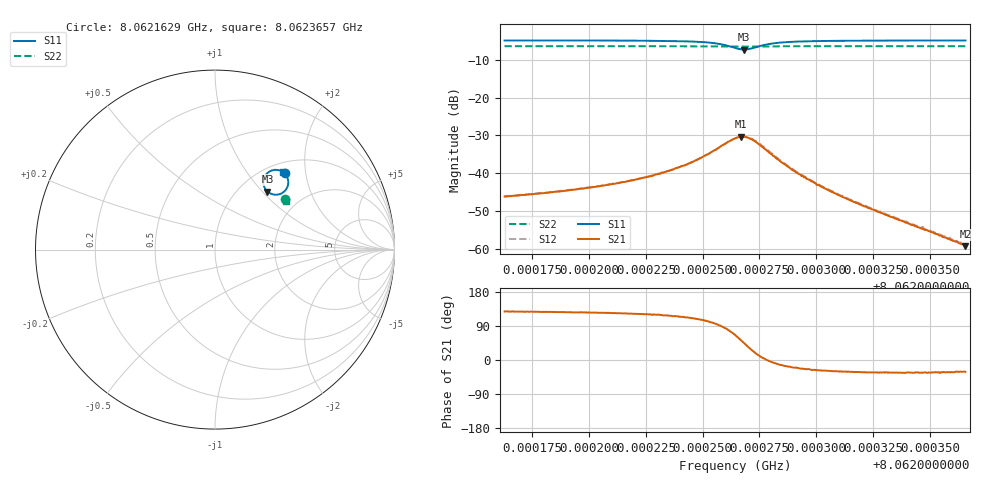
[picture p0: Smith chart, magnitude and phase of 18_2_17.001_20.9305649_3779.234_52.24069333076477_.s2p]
#  HZ  S  RI  R  50.00
! Rohde & Schwarz Vector Network Analyzer
! Rohde-Schwarz,ZNB20-2Port,1311601062101988,3.16
! Created: UTC 3/20/2024, 10:52:52 PM
! freq[Hz]  re:S11  im:S11  re:S21  im:S21  re:S12  im:S12  re:S22  im:S22
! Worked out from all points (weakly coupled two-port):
!   401 points, 8.0621629 GHz to 8.0623657 GHz, reference 50 ohm
!   highest |S21| = -30.34 dB at 8.0622668 GHz (marker M1); lowest = -59.4 dB at 8.0623657 GHz (marker M2)
!   lowest |S11| = -7.2 dB at 8.0622683 GHz (marker M3), VSWR 2.55, Z = 66.9 + j53.4 ohm
!   |S11| at or under -10 dB: nowhere
!   |S22| runs from -6.4 to -6.3 dB; largest |S21 - S12| = 0.0012
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8.06216286e9  0.3886 0.4241  -0.00301 0.00386  -0.00279 0.00407  0.3917 0.2815
8.06217554e9  0.3906 0.4219  -0.00318 0.0042  -0.00295 0.00442  0.3921 0.2809
8.06219683e9  0.3944 0.4174  -0.00366 0.00505  -0.00334 0.00532  0.3929 0.2797
8.06221559e9  0.3988 0.4104  -0.00416 0.00641  -0.00382 0.00671  0.3936 0.2783
8.0622308e9  0.4036 0.4002  -0.0048 0.00854  -0.00427 0.00888  0.3941 0.2772
8.06224246e9  0.4077 0.3847  -0.00493 0.0119  -0.0044 0.0122  0.3945 0.276
8.06224652e9  0.4084 0.3758  -0.0048 0.0138  -0.00408 0.014  0.3944 0.2754
8.06225716e9  0.3958 0.3353  -0.00059 0.0219  0.000212 0.0218  0.3935 0.2735
8.06226426e9  0.3416 0.3056  0.0117 0.0264  0.0123 0.0261  0.3914 0.2725
8.0622668e9  0.3099 0.3119  0.0184 0.0242  0.0191 0.0237  0.3902 0.2732
8.06226832e9  0.2924 0.3234  0.0217 0.0212  0.0224 0.0209  0.3896 0.2737
8.06227034e9  0.276 0.3456  0.0246 0.0159  0.0253 0.0155  0.3891 0.2748
8.06227237e9  0.2695 0.3702  0.0252 0.0104  0.026 0.00994  0.3892 0.2758
8.06227947e9  0.2925 0.4266  0.0185 -0.00104  0.0192 -0.00189  0.3912 0.2777
8.06228454e9  0.3135 0.4398  0.0137 -0.00323  0.0141 -0.0039  0.3925 0.2777
8.06229012e9  0.3304 0.444  0.0101 -0.00368  0.0102 -0.00439  0.3936 0.2774
8.06229823e9  0.3457 0.4442  0.00695 -0.00348  0.00687 -0.00384  0.3944 0.2768
8.0623104e9  0.3589 0.4417  0.00433 -0.00255  0.00428 -0.00281  0.3952 0.2761
8.0623322e9  0.3704 0.4372  0.00225 -0.00147  0.00223 -0.00162  0.3964 0.2745
8.06235654e9  0.377 0.4334  0.00119 -0.000746  0.00117 -0.000853  0.3973 0.2731
8.0623616e9  0.378 0.4327  0.00107 -0.000635  0.00104 -0.000722  0.3975 0.2729
8.06236566e9  0.3787 0.4322  0.000918 -0.000562  0.000936 -0.000634  0.3976 0.2726
